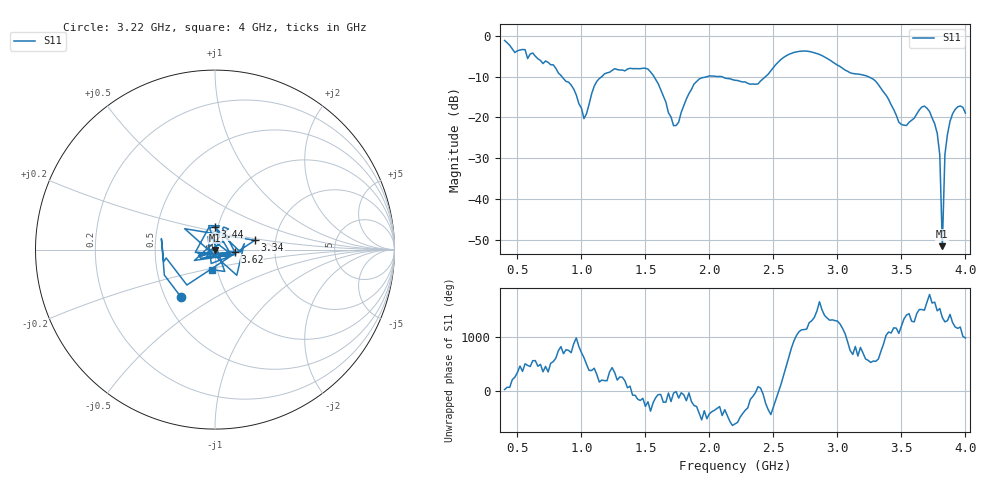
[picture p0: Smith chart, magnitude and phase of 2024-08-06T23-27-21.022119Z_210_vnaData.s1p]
!Created with skrf (http://scikit-rf.org).
# Hz S RI R 50.0
!freq ReS11 ImS11
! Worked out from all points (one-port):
!   181 points, 400 MHz to 4 GHz, reference 50 ohm
!   lowest |S11| = -51.4 dB at 3.82 GHz (marker M1), VSWR 1.01, Z = 50 - j0.264 ohm
!   |S11| at or under -10 dB: 1.567 GHz to 1.985 GHz (418.6 MHz wide, 23.6 % of centre); 2.088 GHz to 2.44 GHz (352.4 MHz wide, 15.6 % of centre); 3.239 GHz to end of sweep (the widest 3 of 5)
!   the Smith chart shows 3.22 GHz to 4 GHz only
!   S11 on the Smith chart (normalised r, x): 3.22 GHz: 0.60, -0.35; 3.34 GHz: 1.56, +0.17; 3.44 GHz: 0.97, +0.25; 3.62 GHz: 1.25, -0.03; 4 GHz: 0.94, -0.21
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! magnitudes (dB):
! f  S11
! 400 MHz  -1.2
! 860 MHz  -10.5
! 940 MHz  -13.1
! 1.02 GHz  -20.3
! 1.12 GHz  -11.2
! 1.3 GHz  -8.4
! 1.52 GHz  -8.2
! 1.72 GHz  -22.0
! 1.76 GHz  -21.1
! 1.92 GHz  -10.6
! 2.2 GHz  -10.9
! 2.38 GHz  -11.8
! 2.66 GHz  -4.1
! 3.1 GHz  -9.1
! 3.22 GHz  -9.8
! 3.34 GHz  -12.8
! 3.44 GHz  -18.1
! 3.5 GHz  -21.7
! 3.56 GHz  -21.2
! 3.62 GHz  -19.1
! 3.7 GHz  -17.7
! 3.78 GHz  -23.9
! 3.8 GHz  -29.2
! 3.82 GHz  -51.4
! 3.84 GHz  -29.0
! 3.86 GHz  -24.1
! 3.92 GHz  -18.0
! 4 GHz  -18.9
